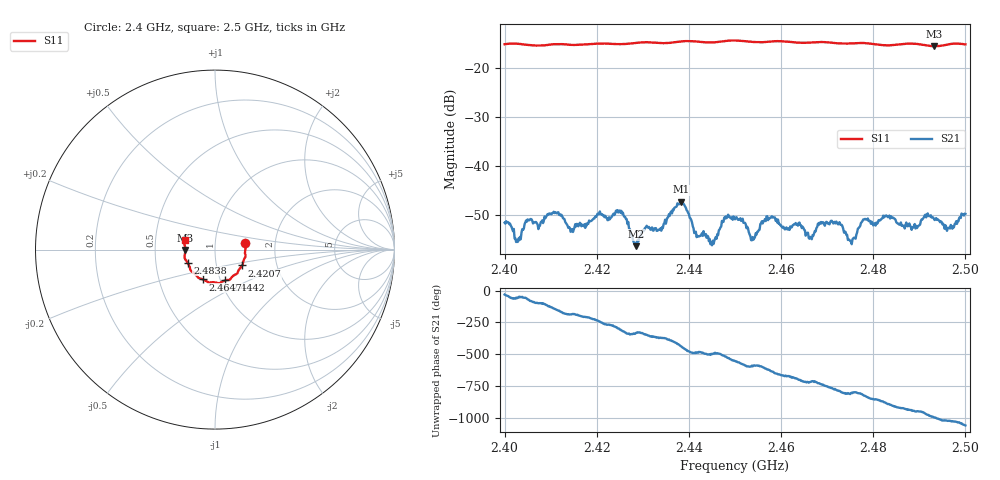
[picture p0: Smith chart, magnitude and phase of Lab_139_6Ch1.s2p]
# Hz S RI R 50
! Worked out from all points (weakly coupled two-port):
!   601 points, 2.4 GHz to 2.5 GHz, reference 50 ohm
!   highest |S21| = -47.27 dB at 2.4383 GHz (marker M1); lowest = -56.3 dB at 2.4285 GHz (marker M2)
!   lowest |S11| = -15.6 dB at 2.4932 GHz (marker M3), VSWR 1.40, Z = 35.8 - j0.178 ohm
!   |S11| at or under -10 dB: start of sweep to end of sweep
!   S12 and S22 are empty: the file has one direction only
!   S11 on the Smith chart (normalised r, x): 2.4 GHz: 1.40, +0.11; 2.4207 GHz: 1.33, -0.24; 2.4442 GHz: 1.05, -0.37; 2.4647 GHz: 0.83, -0.29; 2.4838 GHz: 0.73, -0.11; 2.5 GHz: 0.71, +0.08
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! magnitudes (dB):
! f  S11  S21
! 2.4 GHz  -15.2  -51.5
! 2.4027 GHz  -15.1  -55.1
! 2.4102 GHz  -15.3  -49.8
! 2.4167 GHz  -15.3  -52.3
! 2.4207 GHz  -15.1  -49.2
! 2.4253 GHz  -15.2  -49.1
! 2.4285 GHz  -15.0  -56.3
! 2.4333 GHz  -15.0  -53.1
! 2.4383 GHz  -14.7  -47.3
! 2.4442 GHz  -14.9  -54.3
! 2.45 GHz  -14.5  -50.8
! 2.4538 GHz  -14.8  -54.4
! 2.4573 GHz  -14.7  -50.7
! 2.4647 GHz  -14.9  -52.3
! 2.4667 GHz  -14.9  -54.9
! 2.4712 GHz  -14.9  -51.4
! 2.475 GHz  -15.1  -55.3
! 2.4778 GHz  -15.0  -50.9
! 2.4833 GHz  -15.5  -50.3
! 2.4838 GHz  -15.4  -50.2
! 2.4932 GHz  -15.6  -50.7
! 2.5 GHz  -15.2  -49.7
